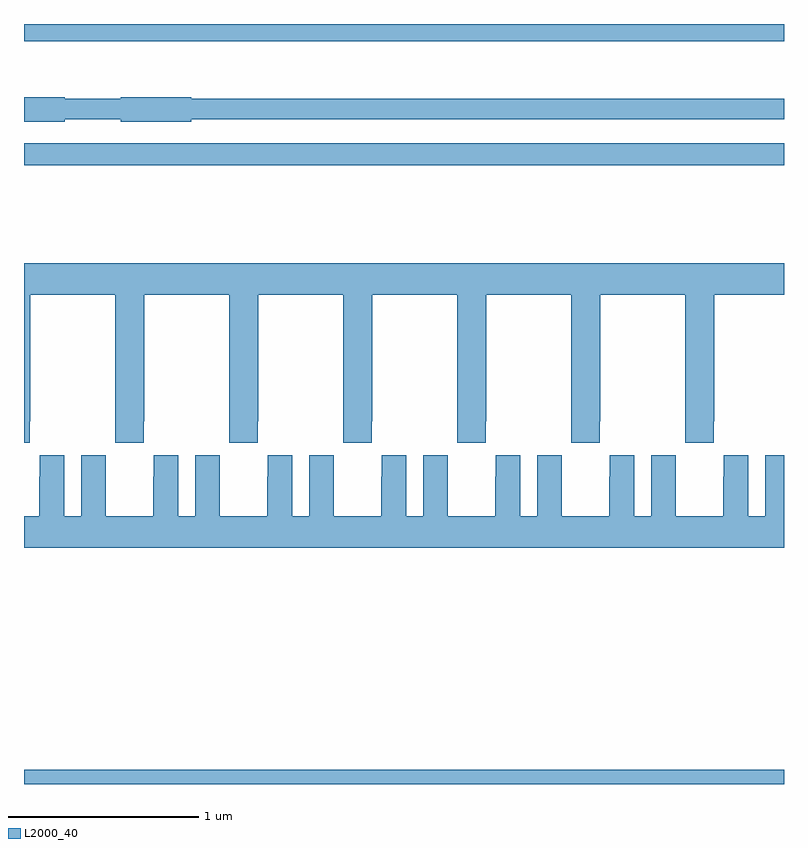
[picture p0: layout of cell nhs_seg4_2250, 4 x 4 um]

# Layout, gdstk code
import gdstk
lib = gdstk.Library(unit=1e-6, precision=1e-09)
def R(c, l, rs):  # rectangles x0, y0, x1, y1
    for r in rs: c.add(gdstk.rectangle(r[:2], r[2:], *l))
def P(c, l, *ps):  # polygons
    for p in ps: c.add(gdstk.Polygon(p, *l))
L2000_40 = (2000, 40)

nhs_seg4_2250 = lib.new_cell('nhs_seg4_2250')
R(nhs_seg4_2250, L2000_40, [(227,804.9,231,804.976), (227,808.156,231,808.272), (227,808.808,231,808.9)])
P(nhs_seg4_2250, L2000_40, [(227.214,808.398),(227.508,808.398),(227.508,808.385),(227.88,808.385),(227.88,808.398),(231,808.398),(231,808.507),(227.88,808.507),(227.88,808.515),(227.508,808.515),(227.508,808.507),(227.214,808.507),(227.214,808.515),(227,808.515),(227,808.385),(227.214,808.385)],
  [(227.031,806.809),(227.034,806.809),(227.034,807.476),(227.479,807.476),(227.479,806.809),(227.481,806.809),(227.481,806.697),(227.631,806.697),(227.631,806.809),(227.634,806.809),(227.634,807.476),(228.079,807.476),(228.079,806.809),(228.081,806.809),(228.081,806.697),(228.231,806.697),(228.231,806.809),(228.234,806.809),(228.234,807.476),(228.679,807.476),(228.679,806.809),(228.681,806.809),(228.681,806.697),(228.831,806.697),(228.831,806.809),(228.834,806.809),(228.834,807.476),(229.279,807.476),(229.279,806.809),(229.281,806.809),(229.281,806.697),(229.431,806.697),(229.431,806.809),(229.434,806.809),(229.434,807.476),(229.879,807.476),(229.879,806.809),(229.881,806.809),(229.881,806.697),(230.031,806.697),(230.031,806.809),(230.034,806.809),(230.034,807.476),(230.479,807.476),(230.479,806.809),(230.481,806.809),(230.481,806.697),(230.631,806.697),(230.631,806.809),(230.634,806.809),(230.634,807.476),(231,807.476),(231,807.64),(227,807.64),(227,806.697),(227.031,806.697)],
  [(229.482,806.629),(229.482,806.516),(229.481,806.516),(229.481,806.308),(229.231,806.308),(229.231,806.516),(229.23,806.516),(229.23,806.629),(229.1,806.629),(229.1,806.308),(229.012,806.308),(229.012,806.629),(228.882,806.629),(228.882,806.516),(228.881,806.516),(228.881,806.308),(228.631,806.308),(228.631,806.516),(228.63,806.516),(228.63,806.629),(228.5,806.629),(228.5,806.308),(228.412,806.308),(228.412,806.629),(228.282,806.629),(228.282,806.516),(228.281,806.516),(228.281,806.308),(228.031,806.308),(228.031,806.516),(228.03,806.516),(228.03,806.629),(227.9,806.629),(227.9,806.308),(227.812,806.308),(227.812,806.629),(227.682,806.629),(227.682,806.516),(227.681,806.516),(227.681,806.308),(227.431,806.308),(227.431,806.516),(227.43,806.516),(227.43,806.629),(227.3,806.629),(227.3,806.308),(227.212,806.308),(227.212,806.629),(227.082,806.629),(227.082,806.516),(227.081,806.516),(227.081,806.308),(227,806.308),(227,806.144),(231,806.144),(231,806.629),(230.9,806.629),(230.9,806.308),(230.812,806.308),(230.812,806.629),(230.682,806.629),(230.682,806.516),(230.681,806.516),(230.681,806.308),(230.431,806.308),(230.431,806.516),(230.43,806.516),(230.43,806.629),(230.3,806.629),(230.3,806.308),(230.212,806.308),(230.212,806.629),(230.082,806.629),(230.082,806.516),(230.081,806.516),(230.081,806.308),(229.831,806.308),(229.831,806.516),(229.83,806.516),(229.83,806.629),(229.7,806.629),(229.7,806.308),(229.612,806.308),(229.612,806.629)])

lib.write_gds('nhs_seg4_2250.gds')
